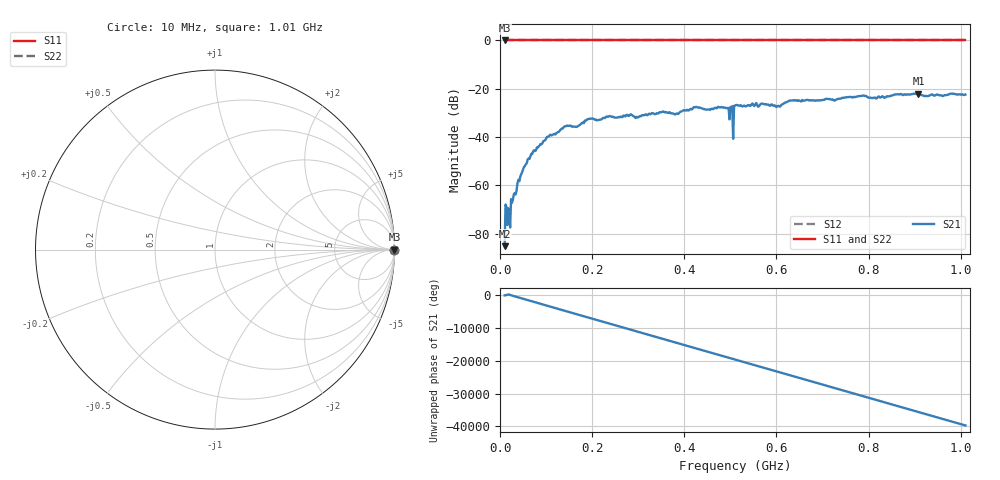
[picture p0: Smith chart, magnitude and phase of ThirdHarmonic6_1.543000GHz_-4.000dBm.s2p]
! 8/16/2025 6:17:55 PM
! C:\ANRITSUVNA\TEMP\TEMP.S2P
! CHANNEL.1
! TR.MEASUREMENT
! RAW.DATA
! RF.CORRECTION.OFF
! AVERAGING.OFF
! IF.BANDWIDTH: 5KHZ
! SWEEPTYPE:  FREQ.SWEEP(Linear)
! Reference Plane Port Info
! PORT:  PORT1  PORT2
! DISTANCE:  0  m  0  m
! TIME:  0  s  0  s
! PHASE.OFFSET:  0  deg.  0  deg.
! LOSS:  0  dB  0  dB
! REF.LOSS:  0  dB  0  dB
! REF.FREQ:  0  Hz  0  Hz
! Power Info
! POWER:  -20  dBm  -20  dBm
! EFF.POWER:  -20  dBm  -20  dBm
! SOURCE.ATTEN:  0  dB  0  dB
! TEST.ATTEN:  0  dB  0  dB
# GHZ S RI R 50.0
! FREQ.GHZ  S11RE  S11IM  S21RE  S21IM  S12RE  S12IM  S22RE  S22IM
!; PortSelection: Port_12
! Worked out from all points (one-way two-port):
!   501 points, 10 MHz to 1.01 GHz, reference 50 ohm
!   highest |S21| = -21.99 dB at 908 MHz (marker M1); lowest = -85.1 dB at 10 MHz (marker M2)
!   lowest |S11| = 0.0 dB at 10 MHz (marker M3)
!   |S11| at or under -10 dB: nowhere
!   |S22| runs from 0.0 to 0.0 dB; largest |S21 - S12| = 1.1
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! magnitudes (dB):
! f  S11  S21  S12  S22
! 10 MHz  0.0  -85.1  0.0  0.0
! 16 MHz  0.0  -76.4  0.0  0.0
! 20 MHz  0.0  -71.5  0.0  0.0
! 28 MHz  0.0  -65.9  0.0  0.0
! 48 MHz  0.0  -54.5  0.0  0.0
! 70 MHz  0.0  -47.0  0.0  0.0
! 106 MHz  0.0  -39.7  0.0  0.0
! 178 MHz  0.0  -34.1  0.0  0.0
! 344 MHz  0.0  -30.2  0.0  0.0
! 384 MHz  0.0  -30.3  0.0  0.0
! 424 MHz  0.0  -27.6  0.0  0.0
! 492 MHz  0.0  -28.0  0.0  0.0
! 500 MHz  0.0  -27.6  0.0  0.0
! 502 MHz  0.0  -27.5  0.0  0.0
! 510 MHz  0.0  -26.9  0.0  0.0
! 512 MHz  0.0  -26.7  0.0  0.0
! 604 MHz  0.0  -27.0  0.0  0.0
! 630 MHz  0.0  -24.9  0.0  0.0
! 678 MHz  0.0  -24.8  0.0  0.0
! 844 MHz  0.0  -23.2  0.0  0.0
! 908 MHz  0.0  -22.0  0.0  0.0
! 1.01 GHz  0.0  -22.4  0.0  0.0
